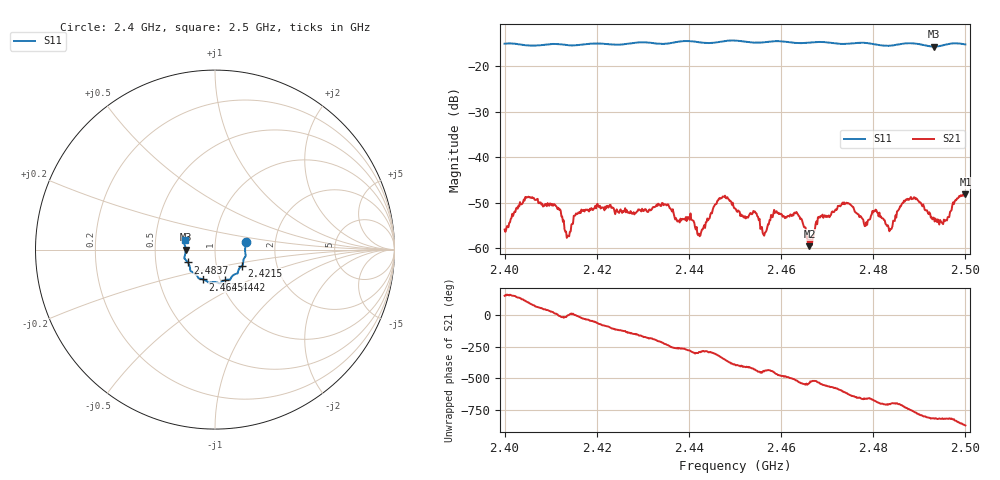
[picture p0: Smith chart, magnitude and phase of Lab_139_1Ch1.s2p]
# Hz S RI R 50
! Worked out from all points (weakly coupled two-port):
!   601 points, 2.4 GHz to 2.5 GHz, reference 50 ohm
!   highest |S21| = -48.12 dB at 2.5 GHz (marker M1); lowest = -59.5 dB at 2.4662 GHz (marker M2)
!   lowest |S11| = -15.7 dB at 2.4932 GHz (marker M3), VSWR 1.39, Z = 35.9 - j0.0477 ohm
!   |S11| at or under -10 dB: start of sweep to end of sweep
!   S12 and S22 are empty: the file has one direction only
!   S11 on the Smith chart (normalised r, x): 2.4 GHz: 1.41, +0.12; 2.4215 GHz: 1.33, -0.25; 2.4442 GHz: 1.05, -0.37; 2.4645 GHz: 0.83, -0.29; 2.4837 GHz: 0.73, -0.11; 2.5 GHz: 0.71, +0.07
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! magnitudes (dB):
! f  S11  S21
! 2.4 GHz  -15.1  -55.9
! 2.405 GHz  -15.5  -48.8
! 2.4112 GHz  -15.2  -50.7
! 2.4137 GHz  -15.4  -57.2
! 2.4167 GHz  -15.3  -51.5
! 2.4215 GHz  -15.1  -51.1
! 2.4333 GHz  -15.1  -50.2
! 2.4423 GHz  -14.8  -57.4
! 2.4442 GHz  -15.0  -53.8
! 2.447 GHz  -14.6  -49.0
! 2.45 GHz  -14.4  -51.3
! 2.4563 GHz  -14.8  -57.2
! 2.4588 GHz  -14.5  -52.1
! 2.4645 GHz  -15.0  -53.7
! 2.4662 GHz  -14.9  -59.5
! 2.4667 GHz  -14.8  -59.3
! 2.4737 GHz  -15.1  -49.9
! 2.4833 GHz  -15.6  -55.5
! 2.4837 GHz  -15.5  -55.8
! 2.4877 GHz  -15.0  -49.4
! 2.4932 GHz  -15.7  -53.3
! 2.5 GHz  -15.2  -48.1
